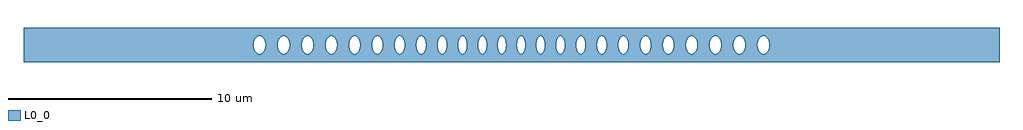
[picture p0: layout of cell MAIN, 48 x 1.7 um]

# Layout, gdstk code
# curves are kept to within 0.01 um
import gdstk
lib = gdstk.Library(unit=1e-6, precision=1e-09)
def P(c, l, *ps):  # polygons
    for p in ps: c.add(gdstk.Polygon(p, *l))
L0_0 = (0, 0)

main = lib.new_cell('MAIN')
P(main, L0_0, [(-12.47,-0.433),(-12.566,-0.364),(-12.628,-0.272),(-12.628,-0.85),(-12.47,-0.85)],
  [(-12.462,0.436),(-12.372,0.448),(-12.279,0.416),(-12.198,0.342),(-12.135,0.228),(-12.135,0.85),(-12.47,0.85)],
  [(-12.135,-0.228),(-12.198,-0.342),(-12.279,-0.416),(-12.372,-0.448),(-12.47,-0.433),(-12.47,-0.85),(-12.135,-0.85)],
  [(24,0.85),(12.628,0.85),(12.628,0.272),(12.672,0.152),(12.689,0.03),(12.677,-0.13),(12.628,-0.272),(12.628,-0.85),(24,-0.85)],
  [(-11.419,0.313),(-11.34,0.401),(-11.246,0.445),(-11.148,0.44),(-11.067,0.395),(-11.067,0.85),(-11.422,0.85)],
  [(-11.067,-0.395),(-11.148,-0.44),(-11.246,-0.445),(-11.34,-0.401),(-11.422,-0.309),(-11.422,-0.85),(-11.067,-0.85)],
  [(-11.503,0.006),(-11.483,0.163),(-11.422,0.309),(-11.422,0.85),(-12.135,0.85),(-12.135,0.228),(-12.106,0.13),(-12.094,0)],
  [(-10.31,0.101),(-10.28,0.223),(-10.216,0.342),(-10.137,0.416),(-10.043,0.448),(-10.043,0.85),(-10.311,0.85)],
  [(-10.043,-0.448),(-10.137,-0.416),(-10.216,-0.342),(-10.28,-0.223),(-10.311,-0.095),(-10.311,-0.85),(-10.043,-0.85)],
  [(-10.035,0.448),(-9.943,0.43),(-9.866,0.374),(-9.791,0.263),(-9.751,0.141),(-9.751,0.85),(-10.043,0.85)],
  [(-9.751,-0.141),(-9.791,-0.263),(-9.866,-0.374),(-9.943,-0.43),(-10.043,-0.448),(-10.043,-0.85),(-9.751,-0.85)],
  [(-10.318,0.006),(-10.311,0.85),(-11.067,0.85),(-11.067,0.395),(-11.003,0.326),(-10.95,0.223),(-10.923,0.13),(-10.911,0)],
  [(-9.014,0.377),(-8.928,0.436),(-8.842,0.448),(-8.754,0.416),(-8.677,0.342),(-8.677,0.85),(-9.02,0.85)],
  [(-8.677,-0.342),(-8.754,-0.416),(-8.842,-0.448),(-8.942,-0.43),(-9.02,-0.37),(-9.02,-0.85),(-8.677,-0.85)],
  [(-9.144,0.006),(-9.112,0.207),(-9.069,0.304),(-9.02,0.37),(-9.02,0.85),(-9.751,0.85),(-9.751,0.141),(-9.736,0)],
  [(-7.962,0.191),(-7.913,0.309),(-7.844,0.395),(-7.762,0.442),(-7.671,0.443),(-7.671,0.85),(-7.963,0.85)],
  [(-7.671,-0.443),(-7.762,-0.442),(-7.844,-0.395),(-7.913,-0.309),(-7.963,-0.185),(-7.963,-0.85),(-7.671,-0.85)],
  [(-7.443,0.85),(-7.671,0.85),(-7.671,0.443),(-7.585,0.395),(-7.516,0.309),(-7.467,0.191),(-7.443,0.048)],
  [(-7.443,-0.048),(-7.467,-0.191),(-7.516,-0.309),(-7.585,-0.395),(-7.671,-0.443),(-7.671,-0.85),(-7.443,-0.85)],
  [(-7.988,0.006),(-7.963,0.185),(-7.963,0.85),(-8.677,0.85),(-8.677,0.342),(-8.606,0.196),(-8.578,0)],
  [(-6.686,0.42),(-6.597,0.449),(-6.518,0.43),(-6.44,0.364),(-6.386,0.272),(-6.386,0.85),(-6.692,0.85)],
  [(-6.386,-0.272),(-6.44,-0.364),(-6.518,-0.43),(-6.611,-0.448),(-6.692,-0.416),(-6.692,-0.85),(-6.386,-0.85)],
  [(-6.855,0.006),(-6.816,0.238),(-6.753,0.357),(-6.692,0.416),(-6.692,0.85),(-7.443,0.85),(-7.441,0)],
  [(-5.7,0.272),(-5.648,0.364),(-5.574,0.43),(-5.498,0.449),(-5.411,0.418),(-5.411,0.85),(-5.702,0.85)],
  [(-5.411,-0.418),(-5.498,-0.449),(-5.574,-0.43),(-5.648,-0.364),(-5.702,-0.268),(-5.702,-0.85),(-5.411,-0.85)],
  [(-5.751,0.006),(-5.736,0.158),(-5.702,0.268),(-5.702,0.85),(-6.386,0.85),(-6.386,0.272),(-6.346,0.147),(-6.332,0)],
  [(-4.676,0.054),(-4.653,0.202),(-4.613,0.309),(-4.547,0.401),(-4.478,0.443),(-4.478,0.85),(-4.677,0.85)],
  [(-4.478,-0.443),(-4.547,-0.401),(-4.613,-0.309),(-4.653,-0.202),(-4.677,-0.048),(-4.677,-0.85),(-4.478,-0.85)],
  [(-4.471,0.445),(-4.393,0.44),(-4.324,0.392),(-4.267,0.309),(-4.223,0.185),(-4.223,0.85),(-4.478,0.85)],
  [(-4.223,-0.185),(-4.267,-0.309),(-4.324,-0.392),(-4.408,-0.445),(-4.478,-0.443),(-4.478,-0.85),(-4.223,-0.85)],
  [(-4.678,0.006),(-4.677,0.85),(-5.411,0.85),(-5.411,0.418),(-5.339,0.342),(-5.291,0.243),(-5.26,0.118),(-5.252,0)],
  [(-3.553,0.345),(-3.494,0.416),(-3.424,0.448),(-3.343,0.43),(-3.281,0.37),(-3.281,0.85),(-3.556,0.85)],
  [(-3.281,-0.37),(-3.343,-0.43),(-3.424,-0.448),(-3.494,-0.416),(-3.556,-0.342),(-3.556,-0.85),(-3.281,-0.85)],
  [(-3.635,0.006),(-3.613,0.196),(-3.556,0.342),(-3.556,0.85),(-4.223,0.85),(-4.223,0.185),(-4.202,0)],
  [(-2.611,0.147),(-2.579,0.272),(-2.524,0.377),(-2.469,0.43),(-2.395,0.448),(-2.395,0.85),(-2.612,0.85)],
  [(-2.395,-0.448),(-2.469,-0.43),(-2.524,-0.377),(-2.579,-0.272),(-2.612,-0.141),(-2.612,-0.85),(-2.395,-0.85)],
  [(-2.194,0.85),(-2.395,0.85),(-2.395,0.448),(-2.324,0.416),(-2.265,0.342),(-2.219,0.228),(-2.194,0.095)],
  [(-2.194,-0.095),(-2.219,-0.228),(-2.265,-0.342),(-2.324,-0.416),(-2.395,-0.448),(-2.395,-0.85),(-2.194,-0.85)],
  [(-2.623,0.006),(-2.612,0.85),(-3.281,0.85),(-3.281,0.37),(-3.207,0.207),(-3.182,0)],
  [(-1.523,0.401),(-1.457,0.445),(-1.387,0.44),(-1.332,0.398),(-1.277,0.309),(-1.277,0.85),(-1.528,0.85)],
  [(-1.277,-0.309),(-1.332,-0.398),(-1.398,-0.444),(-1.468,-0.441),(-1.528,-0.395),(-1.528,-0.85),(-1.277,-0.85)],
  [(-1.638,0.006),(-1.608,0.233),(-1.528,0.395),(-1.528,0.85),(-2.194,0.85),(-2.189,0)],
  [(-0.646,0.233),(-0.604,0.342),(-0.549,0.416),(-0.485,0.448),(-0.418,0.433),(-0.418,0.85),(-0.648,0.85)],
  [(-0.418,-0.433),(-0.485,-0.448),(-0.549,-0.416),(-0.604,-0.342),(-0.648,-0.228),(-0.648,-0.85),(-0.418,-0.85)],
  [(-0.268,0.85),(-0.418,0.85),(-0.418,0.433),(-0.352,0.364),(-0.306,0.263),(-0.277,0.135),(-0.268,0)],
  [(-0.268,0),(-0.277,-0.135),(-0.306,-0.263),(-0.352,-0.364),(-0.418,-0.433),(-0.418,-0.85),(-0.268,-0.85)],
  [(0.268,0.006),(0.306,0.263),(0.352,0.364),(0.416,0.431),(0.416,0.85),(-0.268,0.85),(-0.268,0)],
  [(0.416,-0.431),(0.352,-0.364),(0.306,-0.263),(0.277,-0.135),(0.268,0),(-0.268,0),(-0.268,-0.85),(0.416,-0.85)],
  [(0.421,0.434),(0.485,0.448),(0.549,0.416),(0.604,0.342),(0.646,0.233),(0.646,0.85),(0.416,0.85)],
  [(0.646,-0.233),(0.604,-0.342),(0.549,-0.416),(0.485,-0.448),(0.416,-0.431),(0.416,-0.85),(0.646,-0.85)],
  [(-0.676,0.006),(-0.648,0.228),(-0.648,0.85),(-1.277,0.85),(-1.277,0.309),(-1.237,0.18),(-1.22,0)],
  [(1.277,0.309),(1.332,0.398),(1.398,0.444),(1.457,0.445),(1.525,0.398),(1.525,0.85),(1.275,0.85)],
  [(1.525,-0.398),(1.457,-0.445),(1.387,-0.44),(1.327,-0.392),(1.275,-0.304),(1.275,-0.85),(1.525,-0.85)],
  [(1.22,0.006),(1.237,0.18),(1.275,0.304),(1.275,0.85),(0.646,0.85),(0.646,0.233),(0.676,0)],
  [(2.195,0.101),(2.219,0.228),(2.265,0.342),(2.324,0.416),(2.395,0.448),(2.395,0.85),(2.194,0.85)],
  [(2.395,-0.448),(2.324,-0.416),(2.265,-0.342),(2.219,-0.228),(2.194,-0.095),(2.194,-0.85),(2.395,-0.85)],
  [(2.4,0.448),(2.469,0.43),(2.538,0.357),(2.584,0.258),(2.612,0.141),(2.612,0.85),(2.395,0.85)],
  [(2.612,-0.141),(2.579,-0.272),(2.524,-0.377),(2.469,-0.43),(2.395,-0.448),(2.395,-0.85),(2.612,-0.85)],
  [(2.189,0.006),(2.194,0.85),(1.525,0.85),(1.525,0.398),(1.567,0.338),(1.608,0.233),(1.638,0)],
  [(3.286,0.377),(3.343,0.43),(3.424,0.448),(3.494,0.416),(3.556,0.342),(3.556,0.85),(3.281,0.85)],
  [(3.556,-0.342),(3.494,-0.416),(3.424,-0.448),(3.343,-0.43),(3.281,-0.37),(3.281,-0.85),(3.556,-0.85)],
  [(3.182,0.006),(3.207,0.207),(3.281,0.37),(3.281,0.85),(2.612,0.85),(2.623,0)],
  [(4.224,0.191),(4.271,0.317),(4.341,0.409),(4.408,0.445),(4.478,0.443),(4.478,0.85),(4.223,0.85)],
  [(4.478,-0.443),(4.408,-0.445),(4.324,-0.392),(4.267,-0.309),(4.223,-0.185),(4.223,-0.85),(4.478,-0.85)],
  [(4.677,0.85),(4.478,0.85),(4.478,0.443),(4.547,0.401),(4.613,0.309),(4.653,0.202),(4.677,0.048)],
  [(4.677,-0.048),(4.653,-0.202),(4.613,-0.309),(4.547,-0.401),(4.478,-0.443),(4.478,-0.85),(4.677,-0.85)],
  [(4.202,0.006),(4.223,0.185),(4.223,0.85),(3.556,0.85),(3.556,0.342),(3.613,0.196),(3.635,0)],
  [(5.414,0.42),(5.498,0.449),(5.574,0.43),(5.648,0.364),(5.7,0.272),(5.7,0.85),(5.407,0.85)],
  [(5.7,-0.272),(5.648,-0.364),(5.574,-0.43),(5.485,-0.448),(5.407,-0.416),(5.407,-0.85),(5.7,-0.85)],
  [(5.252,0.006),(5.26,0.118),(5.291,0.243),(5.339,0.342),(5.407,0.416),(5.407,0.85),(4.677,0.85),(4.678,0)],
  [(6.386,0.272),(6.44,0.364),(6.518,0.43),(6.597,0.449),(6.689,0.418),(6.689,0.85),(6.383,0.85)],
  [(6.689,-0.418),(6.597,-0.449),(6.518,-0.43),(6.44,-0.364),(6.383,-0.268),(6.383,-0.85),(6.689,-0.85)],
  [(6.332,0.006),(6.346,0.147),(6.383,0.268),(6.383,0.85),(5.7,0.85),(5.7,0.272),(5.736,0.158),(5.752,0)],
  [(7.443,0.048),(7.467,0.191),(7.516,0.309),(7.585,0.395),(7.668,0.442),(7.668,0.85),(7.443,0.85)],
  [(7.668,-0.442),(7.585,-0.395),(7.516,-0.309),(7.467,-0.191),(7.443,-0.042),(7.443,-0.85),(7.668,-0.85)],
  [(7.675,0.444),(7.769,0.44),(7.844,0.395),(7.913,0.309),(7.962,0.191),(7.962,0.85),(7.668,0.85)],
  [(7.962,-0.191),(7.913,-0.309),(7.837,-0.401),(7.751,-0.445),(7.668,-0.442),(7.668,-0.85),(7.962,-0.85)],
  [(7.442,0.006),(7.443,0.85),(6.689,0.85),(6.689,0.418),(6.753,0.357),(6.816,0.238),(6.856,0)],
  [(8.677,0.342),(8.754,0.416),(8.842,0.448),(8.942,0.43),(9.02,0.37),(9.02,0.85),(8.674,0.85)],
  [(9.02,-0.37),(8.942,-0.43),(8.842,-0.448),(8.754,-0.416),(8.674,-0.338),(8.674,-0.85),(9.02,-0.85)],
  [(8.578,0.006),(8.606,0.196),(8.674,0.338),(8.674,0.85),(7.962,0.85),(7.962,0.191),(7.988,0)],
  [(9.752,0.147),(9.798,0.277),(9.866,0.374),(9.943,0.43),(10.043,0.448),(10.043,0.85),(9.751,0.85)],
  [(10.043,-0.448),(9.943,-0.43),(9.866,-0.374),(9.791,-0.263),(9.751,-0.141),(9.751,-0.85),(10.043,-0.85)],
  [(10.311,0.85),(10.043,0.85),(10.043,0.448),(10.137,0.416),(10.216,0.342),(10.28,0.223),(10.311,0.095)],
  [(10.311,-0.095),(10.28,-0.223),(10.216,-0.342),(10.137,-0.416),(10.043,-0.448),(10.043,-0.85),(10.311,-0.85)],
  [(9.736,0.006),(9.751,0.141),(9.751,0.85),(9.02,0.85),(9.02,0.37),(9.069,0.304),(9.112,0.207),(9.144,0)],
  [(11.074,0.401),(11.168,0.445),(11.266,0.44),(11.34,0.401),(11.422,0.309),(11.422,0.85),(11.067,0.85)],
  [(11.422,-0.309),(11.34,-0.401),(11.246,-0.445),(11.148,-0.44),(11.067,-0.395),(11.067,-0.85),(11.422,-0.85)],
  [(10.911,0.006),(10.923,0.13),(10.962,0.253),(11.003,0.326),(11.067,0.395),(11.067,0.85),(10.311,0.85),(10.318,0)],
  [(12.137,0.233),(12.198,0.342),(12.279,0.416),(12.372,0.448),(12.47,0.433),(12.47,0.85),(12.135,0.85)],
  [(12.47,-0.433),(12.372,-0.448),(12.279,-0.416),(12.198,-0.342),(12.135,-0.228),(12.135,-0.85),(12.47,-0.85)],
  [(-12.628,-0.272),(-12.672,-0.152),(-12.689,-0.03),(-12.677,0.13),(-12.628,0.272),(-12.628,0.85),(-24,0.85),(-24,-0.85),(-12.628,-0.85)],
  [(-12.626,0.277),(-12.566,0.364),(-12.47,0.433),(-12.47,0.85),(-12.628,0.85)],
  [(12.628,0.85),(12.47,0.85),(12.47,0.433),(12.566,0.364),(12.628,0.272)],
  [(12.628,-0.272),(12.566,-0.364),(12.47,-0.433),(12.47,-0.85),(12.628,-0.85)],
  [(-11.422,-0.309),(-11.483,-0.163),(-11.503,0),(-12.094,0),(-12.106,-0.13),(-12.135,-0.228),(-12.135,-0.85),(-11.422,-0.85)],
  [(-10.311,-0.095),(-10.318,0),(-10.911,0),(-10.923,-0.13),(-10.95,-0.223),(-11.003,-0.326),(-11.067,-0.395),(-11.067,-0.85),(-10.311,-0.85)],
  [(-9.02,-0.37),(-9.069,-0.304),(-9.112,-0.207),(-9.144,0),(-9.736,0),(-9.751,-0.141),(-9.751,-0.85),(-9.02,-0.85)],
  [(-7.963,-0.185),(-7.988,0),(-8.578,0),(-8.606,-0.196),(-8.677,-0.342),(-8.677,-0.85),(-7.963,-0.85)],
  [(-6.692,-0.416),(-6.753,-0.357),(-6.816,-0.238),(-6.856,0),(-7.441,0),(-7.443,-0.85),(-6.692,-0.85)],
  [(-5.702,-0.268),(-5.736,-0.158),(-5.752,0),(-6.332,0),(-6.346,-0.147),(-6.386,-0.272),(-6.386,-0.85),(-5.702,-0.85)],
  [(-4.677,-0.048),(-4.678,0),(-5.252,0),(-5.26,-0.118),(-5.291,-0.243),(-5.339,-0.342),(-5.411,-0.418),(-5.411,-0.85),(-4.677,-0.85)],
  [(-3.556,-0.342),(-3.613,-0.196),(-3.635,0),(-4.202,0),(-4.223,-0.185),(-4.223,-0.85),(-3.556,-0.85)],
  [(-2.612,-0.141),(-2.623,0),(-3.182,0),(-3.207,-0.207),(-3.281,-0.37),(-3.281,-0.85),(-2.612,-0.85)],
  [(-1.528,-0.395),(-1.608,-0.233),(-1.638,0),(-2.189,0),(-2.194,-0.85),(-1.528,-0.85)],
  [(-0.648,-0.228),(-0.676,0),(-1.22,0),(-1.237,-0.18),(-1.277,-0.309),(-1.277,-0.85),(-0.648,-0.85)],
  [(1.275,-0.304),(1.231,-0.147),(1.22,0),(0.676,0),(0.646,-0.233),(0.646,-0.85),(1.275,-0.85)],
  [(2.194,-0.095),(2.189,0),(1.638,0),(1.608,-0.233),(1.567,-0.338),(1.525,-0.398),(1.525,-0.85),(2.194,-0.85)],
  [(3.281,-0.37),(3.207,-0.207),(3.182,0),(2.623,0),(2.612,-0.85),(3.281,-0.85)],
  [(4.223,-0.185),(4.202,0),(3.635,0),(3.613,-0.196),(3.556,-0.342),(3.556,-0.85),(4.223,-0.85)],
  [(5.407,-0.416),(5.339,-0.342),(5.291,-0.243),(5.26,-0.118),(5.252,0),(4.678,0),(4.677,-0.85),(5.407,-0.85)],
  [(6.383,-0.268),(6.346,-0.147),(6.332,0),(5.752,0),(5.736,-0.158),(5.7,-0.272),(5.7,-0.85),(6.383,-0.85)],
  [(7.443,-0.042),(7.441,0),(6.856,0),(6.816,-0.238),(6.753,-0.357),(6.689,-0.418),(6.689,-0.85),(7.443,-0.85)],
  [(8.674,-0.338),(8.606,-0.196),(8.578,0),(7.988,0),(7.962,-0.191),(7.962,-0.85),(8.674,-0.85)],
  [(9.751,-0.141),(9.736,0),(9.144,0),(9.112,-0.207),(9.069,-0.304),(9.02,-0.37),(9.02,-0.85),(9.751,-0.85)],
  [(11.067,-0.395),(11.003,-0.326),(10.95,-0.223),(10.923,-0.13),(10.911,0),(10.318,0),(10.311,-0.85),(11.067,-0.85)],
  [(12.135,-0.228),(12.106,-0.13),(12.094,0),(11.503,0),(11.483,-0.163),(11.422,-0.309),(11.422,-0.85),(12.135,-0.85)],
  [(12.094,0.006),(12.106,0.13),(12.135,0.228),(12.135,0.85),(11.422,0.85),(11.422,0.309),(11.483,0.163),(11.503,0)])

lib.write_gds('MAIN.gds')
